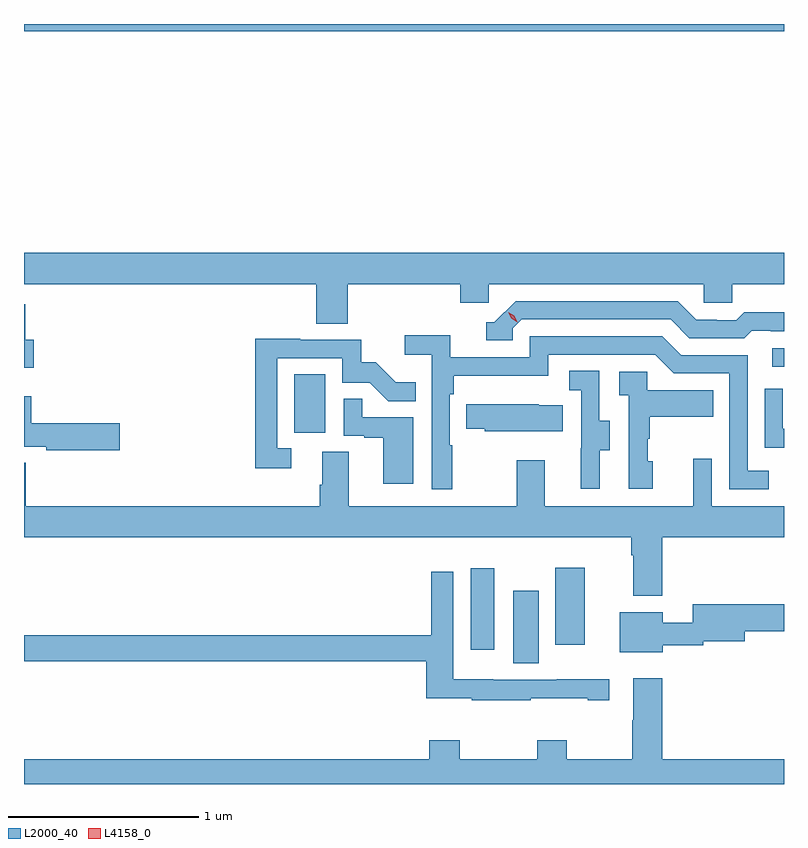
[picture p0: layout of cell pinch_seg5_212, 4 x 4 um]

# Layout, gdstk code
import gdstk
lib = gdstk.Library(unit=1e-6, precision=1e-09)
def R(c, l, rs):  # rectangles x0, y0, x1, y1
    for r in rs: c.add(gdstk.rectangle(r[:2], r[2:], *l))
def P(c, l, *ps):  # polygons
    for p in ps: c.add(gdstk.Polygon(p, *l))
L2000_40 = (2000, 40)
L4158_0 = (4158, 0)

pinch_seg5_212 = lib.new_cell('pinch_seg5_212')
R(pinch_seg5_212, L2000_40, [(1009.85,912.04,1009.984,912.421), (1009.628,912.111,1009.75,912.541), (1010.072,912.138,1010.227,912.544), (1008.698,913.254,1008.862,913.561), (1011.213,913.602,1011.276,913.698), (1007.276,915.368,1011.276,915.405)])
P(pinch_seg5_212, L2000_40, [(1008.98,914.036),(1009.571,914.036),(1009.571,913.938),(1009.722,913.938),(1009.722,914.036),(1010.853,914.036),(1010.853,913.938),(1011.003,913.938),(1011.003,914.036),(1011.276,914.036),(1011.276,914.2),(1007.276,914.2),(1007.276,914.036),(1008.815,914.036),(1008.815,913.828),(1008.98,913.828)],
  [(1009.848,913.803),(1009.896,913.851),(1010.679,913.851),(1010.778,913.752),(1011.067,913.752),(1011.106,913.791),(1011.205,913.791),(1011.205,913.788),(1011.276,913.788),(1011.276,913.888),(1011.067,913.888),(1011.025,913.845),(1010.922,913.845),(1010.922,913.848),(1010.815,913.848),(1010.716,913.947),(1009.863,913.947),(1009.752,913.836),(1009.709,913.836),(1009.709,913.74),(1009.848,913.74)],
  [(1007.326,913.743),(1007.282,913.743),(1007.282,913.93),(1007.276,913.93),(1007.276,913.595),(1007.326,913.595)],
  [(1009.531,913.187),(1009.518,913.187),(1009.518,913.457),(1009.538,913.457),(1009.538,913.553),(1010.034,913.553),(1010.034,913.665),(1010.598,913.665),(1010.697,913.566),(1010.988,913.566),(1010.988,912.957),(1011.197,912.957),(1011.197,913.053),(1011.084,913.053),(1011.084,913.662),(1010.734,913.662),(1010.635,913.761),(1009.938,913.761),(1009.938,913.65),(1009.52,913.65),(1009.52,913.766),(1009.281,913.766),(1009.281,913.664),(1009.422,913.664),(1009.422,912.957),(1009.531,912.957)],
  [(1008.682,913.173),(1008.609,913.173),(1008.609,913.647),(1008.951,913.647),(1008.951,913.518),(1009.095,913.518),(1009.193,913.42),(1009.337,913.42),(1009.337,913.519),(1009.233,913.519),(1009.126,913.626),(1009.05,913.626),(1009.05,913.743),(1008.731,913.743),(1008.731,913.748),(1008.493,913.748),(1008.493,913.068),(1008.682,913.068)],
  [(1010.305,913.162),(1010.359,913.162),(1010.359,913.317),(1010.304,913.317),(1010.304,913.58),(1010.145,913.58),(1010.145,913.477),(1010.208,913.477),(1010.208,913.173),(1010.207,913.173),(1010.207,912.96),(1010.305,912.96)],
  [(1010.584,913.104),(1010.559,913.104),(1010.559,913.223),(1010.569,913.223),(1010.569,913.337),(1010.903,913.337),(1010.903,913.477),(1010.556,913.477),(1010.556,913.575),(1010.409,913.575),(1010.409,913.451),(1010.46,913.451),(1010.46,912.96),(1010.584,912.96)],
  [(1011.276,913.274),(1011.27,913.274),(1011.27,913.486),(1011.174,913.486),(1011.174,913.176),(1011.276,913.176)],
  [(1007.779,913.304),(1007.314,913.304),(1007.314,913.447),(1007.276,913.447),(1007.276,913.181),(1007.394,913.181),(1007.394,913.162),(1007.779,913.162)],
  [(1009.324,913.335),(1009.055,913.335),(1009.055,913.433),(1008.96,913.433),(1008.96,913.239),(1009.067,913.239),(1009.067,913.227),(1009.166,913.227),(1009.166,912.984),(1009.324,912.984)],
  [(1010.111,913.399),(1009.986,913.399),(1009.986,913.405),(1009.603,913.405),(1009.603,913.276),(1009.701,913.276),(1009.701,913.262),(1010.111,913.262)],
  [(1010.636,912.704),(1011.276,912.704),(1011.276,912.868),(1010.895,912.868),(1010.895,913.117),(1010.798,913.117),(1010.798,912.868),(1010.017,912.868),(1010.017,913.108),(1009.87,913.108),(1009.87,912.868),(1008.985,912.868),(1008.985,913.154),(1008.845,913.154),(1008.845,912.98),(1008.833,912.98),(1008.833,912.868),(1007.285,912.868),(1007.285,913.096),(1007.276,913.096),(1007.276,912.704),(1010.471,912.704),(1010.471,912.608),(1010.483,912.608),(1010.483,912.395),(1010.636,912.395)],
  [(1009.943,911.857),(1010.243,911.857),(1010.243,911.847),(1010.356,911.847),(1010.356,911.957),(1010.08,911.957),(1010.08,911.955),(1009.746,911.955),(1009.746,911.956),(1009.536,911.956),(1009.536,912.523),(1009.42,912.523),(1009.42,912.188),(1007.276,912.188),(1007.276,912.052),(1009.394,912.052),(1009.394,911.857),(1009.633,911.857),(1009.633,911.847),(1009.943,911.847)],
  [(1010.638,912.136),(1010.85,912.136),(1010.85,912.156),(1011.07,912.156),(1011.07,912.209),(1011.276,912.209),(1011.276,912.351),(1010.795,912.351),(1010.795,912.253),(1010.638,912.253),(1010.638,912.31),(1010.411,912.31),(1010.411,912.098),(1010.638,912.098)],
  [(1011.276,911.536),(1010.636,911.536),(1010.636,911.962),(1010.483,911.962),(1010.483,911.741),(1010.476,911.741),(1010.476,911.536),(1010.133,911.536),(1010.133,911.635),(1009.978,911.635),(1009.978,911.536),(1009.569,911.536),(1009.569,911.635),(1009.409,911.635),(1009.409,911.536),(1007.276,911.536),(1007.276,911.405),(1011.276,911.405)])
P(pinch_seg5_212, L4158_0, [(1009.871,913.836),(1009.84,913.856),(1009.824,913.888),(1009.824,913.888),(1009.825,913.888),(1009.855,913.869),(1009.871,913.837),(1009.871,913.836)])

lib.write_gds('pinch_seg5_212.gds')
